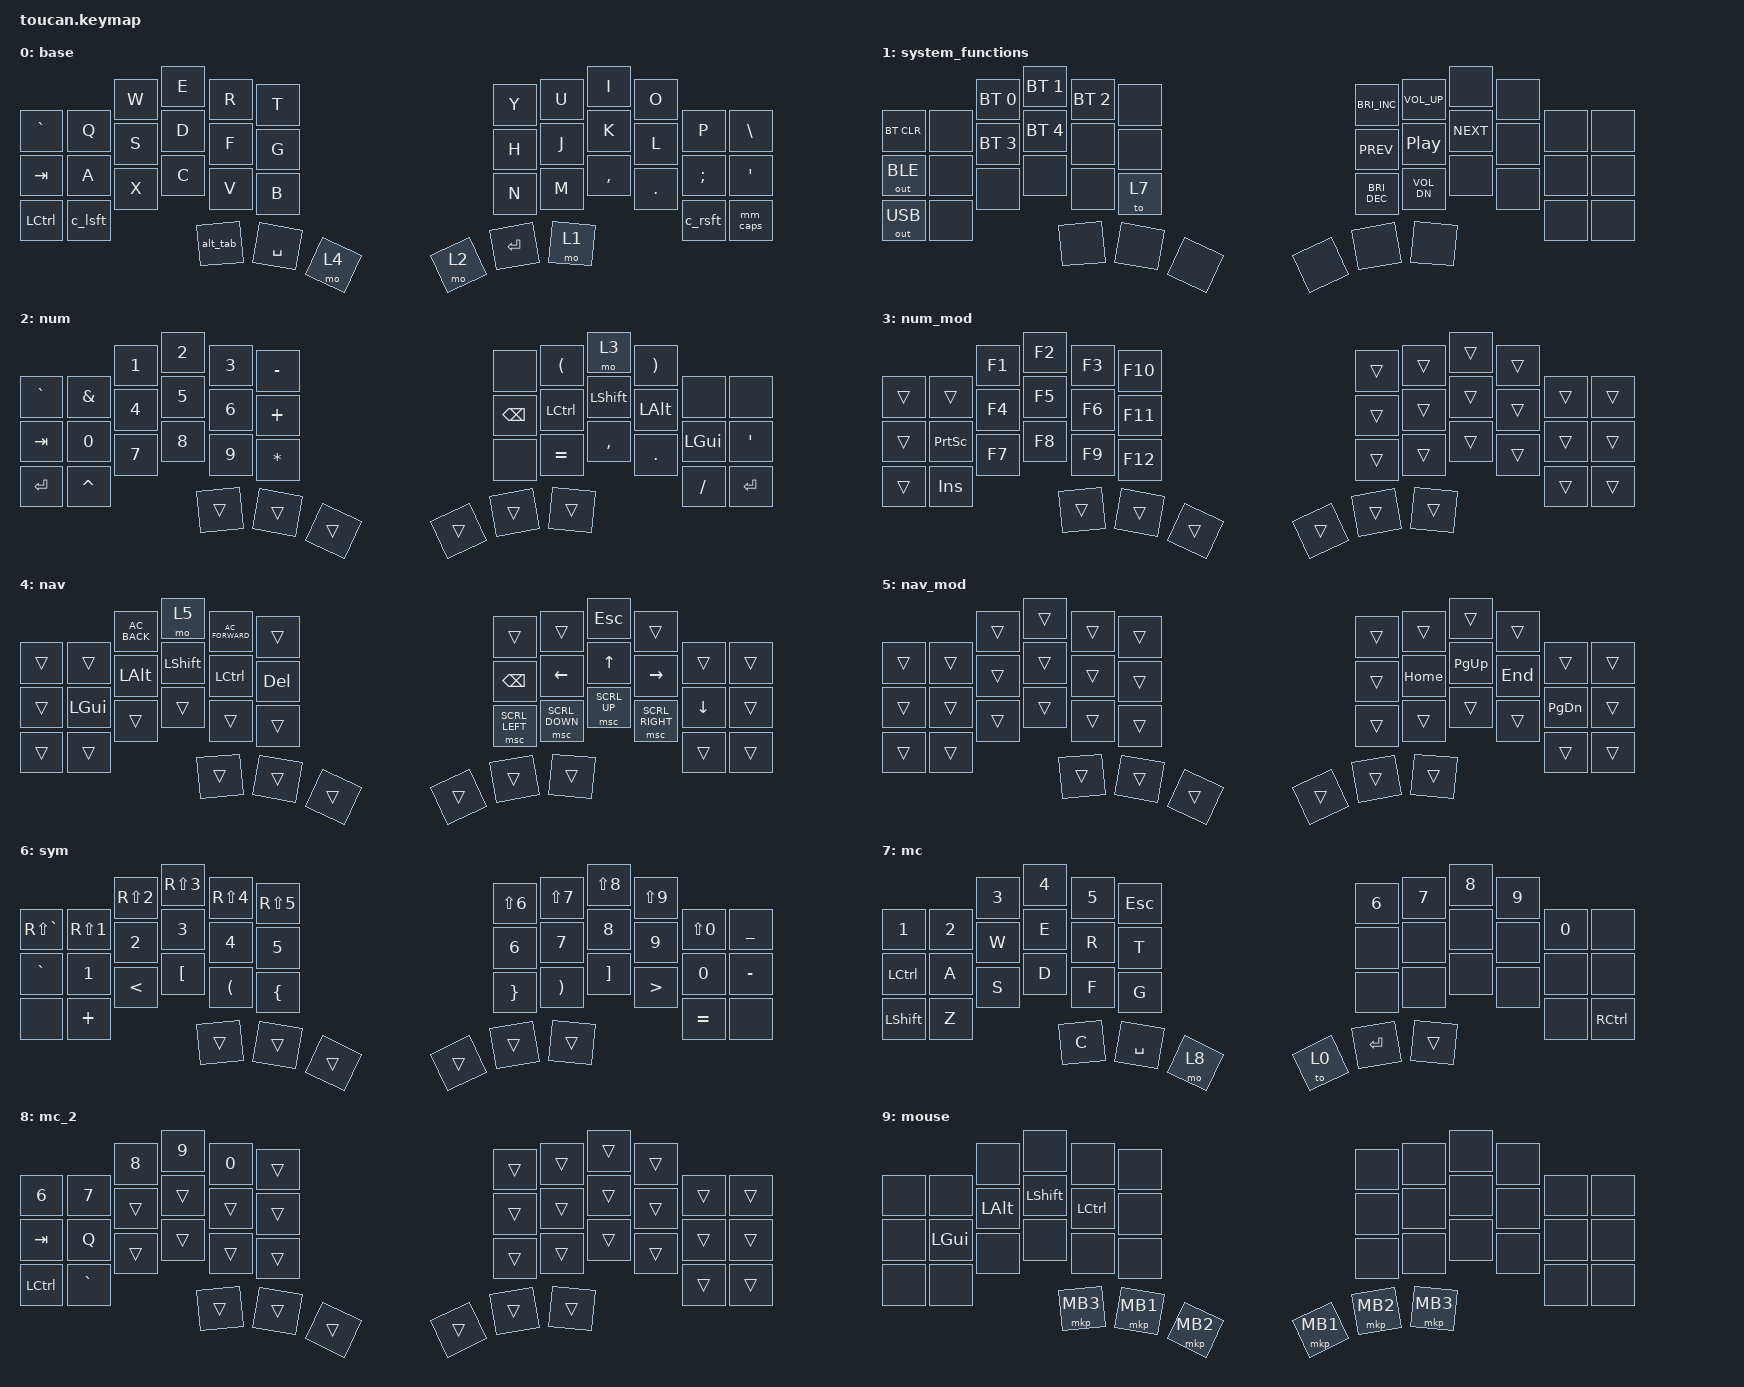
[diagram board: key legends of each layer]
#define COMBO_TIMEOUT 25
#define ZMK_POINTING_DEFAULT_SCRL_VAL 20

#include <dt-bindings/input/input-event-codes.h>
#include <behaviors.dtsi>
#include <dt-bindings/zmk/bt.h>
#include <dt-bindings/zmk/keys.h>
#include <dt-bindings/zmk/outputs.h>
#include <dt-bindings/zmk/pointing.h>

/ {
    input_processors {
        trackpad_touch_behavior: trackpad_touch_behavior {
            compatible = "zmk,input-processor-behaviors";
            #input-processor-cells = <0>;
            codes = <INPUT_BTN_TOUCH>;
            bindings = <&mo 9>;
        };
    };

    trackpad_touch_listener {
        compatible = "zmk,input-listener";
        device = <&ptp_touch>;
        input-processors = <&trackpad_touch_behavior>;
    };
};

&msc {
    time-to-max-speed-ms = <150>;
    acceleration-exponent = <0>;
};

/ {
    combos {
        compatible = "zmk,combos";

        lbkt {
            bindings = <&kp LBKT>;
            key-positions = <3 4>;
            timeout-ms = <COMBO_TIMEOUT>;
            layers = <0 2>;
        };

        lpar {
            bindings = <&kp LPAR>;
            key-positions = <16 15>;
            timeout-ms = <COMBO_TIMEOUT>;
            layers = <0>;
        };

        lbrc {
            bindings = <&kp LBRC>;
            key-positions = <28 27>;
            timeout-ms = <COMBO_TIMEOUT>;
            layers = <0 2>;
        };

        rbkt {
            bindings = <&kp RBKT>;
            key-positions = <7 8>;
            timeout-ms = <COMBO_TIMEOUT>;
            layers = <0 2>;
        };

        rpar {
            bindings = <&kp RPAR>;
            key-positions = <20 19>;
            timeout-ms = <COMBO_TIMEOUT>;
            layers = <0>;
        };

        rbrc {
            bindings = <&kp RBRC>;
            key-positions = <31 32>;
            timeout-ms = <COMBO_TIMEOUT>;
            layers = <0 2>;
        };

        dsh {
            bindings = <&ws_dsh>;
            key-positions = <2 3>;
            timeout-ms = <COMBO_TIMEOUT>;
            layers = <0>;
        };

        undsc {
            bindings = <&kp UNDER>;
            key-positions = <14 15>;
            timeout-ms = <COMBO_TIMEOUT>;
            layers = <0>;
        };

        amps {
            bindings = <&kp AMPS>;
            key-positions = <26 27>;
            timeout-ms = <COMBO_TIMEOUT>;
            layers = <0>;
        };

        excl {
            bindings = <&kp RS(N1)>;
            key-positions = <1 2>;
            timeout-ms = <COMBO_TIMEOUT>;
            layers = <0>;
        };

        plus {
            bindings = <&ws_plus>;
            key-positions = <8 9>;
            timeout-ms = <COMBO_TIMEOUT>;
            layers = <0>;
        };

        eq {
            bindings = <&ws_eq>;
            key-positions = <21 20>;
            timeout-ms = <COMBO_TIMEOUT>;
            layers = <0>;
        };

        ast {
            bindings = <&ws_ast>;
            key-positions = <33 32>;
            timeout-ms = <COMBO_TIMEOUT>;
            layers = <0>;
        };

        bslsh {
            bindings = <&kp BSLH>;
            key-positions = <22 21>;
            timeout-ms = <COMBO_TIMEOUT>;
            layers = <0>;
        };

        excl2 {
            bindings = <&kp RS(N1)>;
            key-positions = <13 25>;
            timeout-ms = <COMBO_TIMEOUT>;
            layers = <0>;
        };

        ats {
            bindings = <&kp RS(N2)>;
            key-positions = <14 26>;
            timeout-ms = <COMBO_TIMEOUT>;
            layers = <0>;
        };

        hsh {
            bindings = <&kp RS(N3)>;
            key-positions = <15 27>;
            timeout-ms = <COMBO_TIMEOUT>;
            layers = <0>;
        };

        dlr {
            bindings = <&kp RS(N4)>;
            key-positions = <16 28>;
            timeout-ms = <COMBO_TIMEOUT>;
            layers = <0>;
        };

        pct {
            bindings = <&kp RS(N5)>;
            key-positions = <17 29>;
            timeout-ms = <COMBO_TIMEOUT>;
            layers = <0>;
        };

        crt {
            bindings = <&kp CARET>;
            key-positions = <18 30>;
            timeout-ms = <COMBO_TIMEOUT>;
            layers = <0>;
        };

        amps2 {
            bindings = <&kp AMPS>;
            key-positions = <31 19>;
            timeout-ms = <COMBO_TIMEOUT>;
            layers = <0>;
        };
    };

    macros {
        alt_tab: alt_tab {
            compatible = "zmk,behavior-macro";
            #binding-cells = <0>;
            bindings =
                <&macro_press>,
                <&kp LALT>,
                <&macro_tap>,
                <&kp TAB>,
                <&macro_release>,
                <&kp LALT>;

            label = "ALT_TAB";
        };

        wrap_spc: wrap_spc {
            compatible = "zmk,behavior-macro-one-param";
            #binding-cells = <1>;
            bindings =
                <&macro_tap>,
                <&kp SPACE &macro_param_1to1 &kp MACRO_PLACEHOLDER &kp SPACE>;

            label = "WRAP_SPC";
            wait-ms = <0>;
            tap-ms = <5>;
        };
    };

    behaviors {
        th_r: th_r {
            compatible = "zmk,behavior-hold-tap";
            label = "TH_R";
            bindings = <&kp>, <&kp>;

            #binding-cells = <2>;
            tapping-term-ms = <250>;
            flavor = "hold-preferred";
            hold-trigger-key-positions = <1 25 13 26 14 2 3 4 5 15 16 17 27 28 29 12 0 24 41 37 40 36>;
            quick-tap-ms = <150>;
        };

        th_l: th_l {
            compatible = "zmk,behavior-hold-tap";
            label = "TH_L";
            bindings = <&kp>, <&kp>;

            #binding-cells = <2>;
            tapping-term-ms = <250>;
            flavor = "hold-preferred";
            quick-tap-ms = <150>;
            hold-trigger-key-positions = <6 7 8 9 10 18 19 20 21 22 30 31 32 33 23 11 35 34 36 40 37 41>;
        };

        c_lsft: c_lsft {
            compatible = "zmk,behavior-mod-morph";
            label = "C_LSFT";
            bindings = <&th_l LSHFT Z>, <&kp Z>;

            #binding-cells = <0>;
            keep-mods = <(MOD_RSFT)>;
            mods = <(MOD_RSFT)>;
        };

        c_rsft: c_rsft {
            compatible = "zmk,behavior-mod-morph";
            label = "C_RSFT";
            bindings = <&th_r RSHFT SLASH>, <&kp SLASH>;

            #binding-cells = <0>;
            mods = <(MOD_LSFT)>;
            keep-mods = <(MOD_LSFT)>;
        };

        mm_caps: mm_caps {
            compatible = "zmk,behavior-mod-morph";
            label = "MM_CAPS";
            bindings = <&caps_word>, <&kp CAPS>;

            #binding-cells = <0>;
            mods = <(MOD_LSFT|MOD_RSFT)>;
        };

        ws_eq: ws_eq {
            compatible = "zmk,behavior-mod-morph";
            label = "WS_EQ";
            bindings = <&kp EQUAL>, <&wrap_spc EQUAL>;

            #binding-cells = <0>;
            mods = <(MOD_LSFT|MOD_RSFT)>;
        };

        ws_plus: ws_plus {
            compatible = "zmk,behavior-mod-morph";
            label = "WS_PLUS";
            bindings = <&kp PLUS>, <&wrap_spc PLUS>;

            #binding-cells = <0>;
            mods = <(MOD_LSFT|MOD_RSFT)>;
        };

        ws_dsh: ws_dsh {
            compatible = "zmk,behavior-mod-morph";
            label = "WS_DSH";
            bindings = <&kp MINUS>, <&wrap_spc MINUS>;

            #binding-cells = <0>;
            mods = <(MOD_LSFT|MOD_RSFT)>;
        };

        ws_ast: ws_ast {
            compatible = "zmk,behavior-mod-morph";
            label = "WS_AST";
            bindings = <&kp ASTRK>, <&wrap_spc ASTRK>;

            #binding-cells = <0>;
            mods = <(MOD_LSFT|MOD_RSFT)>;
        };
    };

    keymap {
        compatible = "zmk,keymap";

        base {
            bindings = <
&kp GRAVE  &kp Q    &kp W  &kp E  &kp R     &kp T                        &kp Y    &kp U  &kp I      &kp O    &kp P     &kp BSLH
&kp TAB    &kp A    &kp S  &kp D  &kp F     &kp G                        &kp H    &kp J  &kp K      &kp L    &kp SEMI  &kp SQT
&kp LCTRL  &c_lsft  &kp X  &kp C  &kp V     &kp B                        &kp N    &kp M  &kp COMMA  &kp DOT  &c_rsft   &mm_caps
                                  &alt_tab  &kp SPACE  &mo 4      &mo 2  &kp RET  &mo 1
            >;
        };

        system_functions {
            bindings = <
&bt BT_CLR    &none  &bt BT_SEL 0  &bt BT_SEL 1  &bt BT_SEL 2  &none                    &kp C_BRIGHTNESS_INC  &kp C_VOL_UP      &none       &none  &none  &none
&out OUT_BLE  &none  &bt BT_SEL 3  &bt BT_SEL 4  &none         &none                    &kp C_PREV            &kp C_PLAY_PAUSE  &kp C_NEXT  &none  &none  &none
&out OUT_USB  &none  &none         &none         &none         &to 7                    &kp C_BRIGHTNESS_DEC  &kp C_VOL_DN      &none       &none  &none  &none
                                                 &none         &none  &none      &none  &none                 &none
            >;
        };

        num {
            bindings = <
&kp GRAVE  &kp AMPS   &kp N1  &kp N2  &kp N3  &kp MINUS                      &none          &kp LPAR   &mo 3      &kp RPAR  &none     &none
&kp TAB    &kp N0     &kp N4  &kp N5  &kp N6  &kp PLUS                       &kp BACKSPACE  &kp LCTRL  &kp LSHFT  &kp LALT  &kp LGUI  &kp SQT
&kp RET    &kp CARET  &kp N7  &kp N8  &kp N9  &kp ASTRK                      &none          &kp EQUAL  &kp COMMA  &kp DOT   &kp FSLH  &kp RET
                                      &trans  &trans     &trans      &trans  &trans         &trans
            >;
        };

        num_mod {
            bindings = <
&trans  &trans     &kp F1  &kp F2  &kp F3  &kp F10                      &trans  &trans  &trans  &trans  &trans  &trans
&trans  &kp PSCRN  &kp F4  &kp F5  &kp F6  &kp F11                      &trans  &trans  &trans  &trans  &trans  &trans
&trans  &kp INS    &kp F7  &kp F8  &kp F9  &kp F12                      &trans  &trans  &trans  &trans  &trans  &trans
                                   &trans  &trans   &trans      &trans  &trans  &trans
            >;
        };

        nav {
            bindings = <
&trans  &trans    &kp C_AC_BACK  &mo 5      &kp C_AC_FORWARD  &trans                       &trans          &trans          &kp ESC       &trans           &trans    &trans
&trans  &kp LGUI  &kp LALT       &kp LSHFT  &kp LCTRL         &kp DEL                      &kp BACKSPACE   &kp LEFT        &kp UP        &kp RIGHT        &kp DOWN  &trans
&trans  &trans    &trans         &trans     &trans            &trans                       &msc SCRL_LEFT  &msc SCRL_DOWN  &msc SCRL_UP  &msc SCRL_RIGHT  &trans    &trans
                                            &trans            &trans   &trans      &trans  &trans          &trans
            >;
        };

        nav_mod {
            bindings = <
&trans  &trans  &trans  &trans  &trans  &trans                      &trans  &trans    &trans     &trans   &trans     &trans
&trans  &trans  &trans  &trans  &trans  &trans                      &trans  &kp HOME  &kp PG_UP  &kp END  &kp PG_DN  &trans
&trans  &trans  &trans  &trans  &trans  &trans                      &trans  &trans    &trans     &trans   &trans     &trans
                                &trans  &trans  &trans      &trans  &trans  &trans
            >;
        };

        sym {
            bindings = <
&kp RS(GRAVE)  &kp RS(N1)  &kp RS(N2)  &kp RS(N3)  &kp RS(N4)  &kp RS(N5)                      &kp LS(N6)  &kp LS(N7)  &kp LS(N8)  &kp LS(N9)  &kp LS(N0)  &kp UNDER
&kp GRAVE      &kp N1      &kp N2      &kp N3      &kp N4      &kp N5                          &kp N6      &kp N7      &kp N8      &kp N9      &kp N0      &kp MINUS
&none          &kp PLUS    &kp LT      &kp LBKT    &kp LPAR    &kp LBRC                        &kp RBRC    &kp RPAR    &kp RBKT    &kp GT      &kp EQUAL   &none
                                                   &trans      &trans      &trans      &trans  &trans      &trans
            >;
        };

        mc {
            bindings = <
&kp N1     &kp N2  &kp N3  &kp N4  &kp N5  &kp ESC                      &kp N6   &kp N7  &kp N8  &kp N9  &kp N0  &none
&kp LCTRL  &kp A   &kp W   &kp E   &kp R   &kp T                        &none    &none   &none   &none   &none   &none
&kp LSHFT  &kp Z   &kp S   &kp D   &kp F   &kp G                        &none    &none   &none   &none   &none   &kp RCTRL
                                   &kp C   &kp SPACE  &mo 8      &to 0  &kp RET  &trans
            >;
        };

        mc_2 {
            bindings = <
&kp N6     &kp N7     &kp N8  &kp N9  &kp N0  &trans                      &trans  &trans  &trans  &trans  &trans  &trans
&kp TAB    &kp Q      &trans  &trans  &trans  &trans                      &trans  &trans  &trans  &trans  &trans  &trans
&kp LCTRL  &kp GRAVE  &trans  &trans  &trans  &trans                      &trans  &trans  &trans  &trans  &trans  &trans
                                      &trans  &trans  &trans      &trans  &trans  &trans
            >;
        };

        mouse {
            bindings = <
&none  &none     &none     &none       &none      &none                             &none     &none     &none  &none  &none  &none
&none  &kp LGUI  &kp LALT  &kp LSHIFT  &kp LCTRL  &none                             &none     &none     &none  &none  &none  &none
&none  &none     &none     &none       &none      &none                             &none     &none     &none  &none  &none  &none
                                       &mkp MB3   &mkp MB1  &mkp MB2      &mkp MB1  &mkp MB2  &mkp MB3
            >;
        };
    };

    conditional_layers {
        compatible = "zmk,conditional-layers";

        sym {
            if-layers = <2 4>;
            then-layer = <6>;
        };
    };
};
